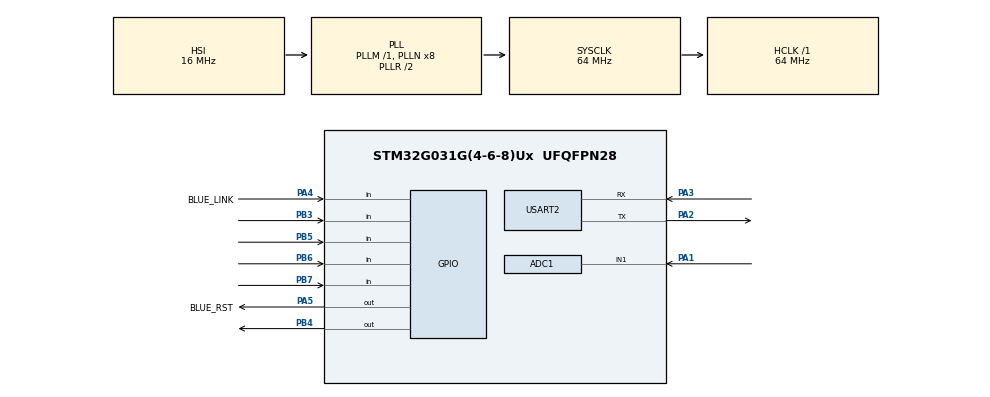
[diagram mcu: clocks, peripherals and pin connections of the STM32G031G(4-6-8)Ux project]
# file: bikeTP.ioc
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ADC1.Channel-0\#ChannelRegularConversion=ADC_CHANNEL_1
ADC1.NbrOfConversionFlag=1
ADC1.Rank-0\#ChannelRegularConversion=1
ADC1.SamplingTime-0\#ChannelRegularConversion=ADC_SAMPLINGTIME_COMMON_1
ADC1.SelectedChannel=ADC_CHANNEL_1
ADC1.master=1
Mcu.Family=STM32G0
Mcu.Name=STM32G031G(4-6-8)Ux
Mcu.Package=UFQFPN28
NVIC.USART2_IRQn=true\:0\:0\:false\:false\:true\:true\:true\:true
PA1.Mode=IN1
PA1.Signal=ADC1_IN1
PA13.Mode=Serial_Wire
PA13.Signal=SYS_SWDIO
PA14-BOOT0.Mode=Serial_Wire
PA14-BOOT0.Signal=SYS_SWCLK
PA2.Mode=Asynchronous
PA2.Signal=USART2_TX
PA3.Mode=Asynchronous
PA3.Signal=USART2_RX
PA4.GPIO_Label=BLUE_LINK
PA4.Signal=GPIO_Input
PA5.GPIO_Label=BLUE_RST
PA5.Signal=GPIO_Output
PB3.Signal=GPIO_Input
PB4.Signal=GPIO_Output
PB5.GPIO_PuPd=GPIO_PULLUP
PB5.Signal=GPIO_Input
PB6.GPIO_PuPd=GPIO_PULLUP
PB6.Signal=GPIO_Input
PB7.GPIO_PuPd=GPIO_PULLUP
PB7.Signal=GPIO_Input
ProjectManager.HeapSize=0x200
ProjectManager.StackSize=0x400
ProjectManager.TargetToolchain=MDK-ARM V5.32
RCC.ADCFreq_Value=64000000
RCC.AHBFreq_Value=64000000
RCC.CortexFreq_Value=64000000
RCC.EXTERNAL_CLOCK_VALUE=12288000
RCC.HCLKFreq_Value=64000000
RCC.HSE_VALUE=8000000
RCC.HSI_VALUE=16000000
RCC.LSE_VALUE=32768
RCC.SYSCLKFreq_VALUE=64000000
RCC.SYSCLKSource=RCC_SYSCLKSOURCE_PLLCLK
RCC.VCOOutputFreq_Value=128000000
TIM14.Period=9999
TIM14.Prescaler=639
TIM16.Period=999
TIM16.Prescaler=639
USART2.VirtualMode-Asynchronous=VM_ASYNC
VP_TIM14_VS_ClockSourceINT.Mode=Enable_Timer
VP_TIM16_VS_ClockSourceINT.Mode=Enable_Timer
board=custom

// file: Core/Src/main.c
/* USER CODE BEGIN Header */
/**
  ******************************************************************************
  * @file           : main.c
  * @brief          : Main program body
  ******************************************************************************
  * @attention
  *
  * Copyright (c) 2025 STMicroelectronics.
  * All rights reserved.
  *
  * This software is licensed under terms that can be found in the LICENSE file
  * in the root directory of this software component.
  * If no LICENSE file comes with this software, it is provided AS-IS.
  *
  ******************************************************************************
  */
/* USER CODE END Header */
#include "main.h"
#include "adc.h"
#include "tim.h"
#include "usart.h"
#include "gpio.h"

/* USER CODE BEGIN Includes */
#include "string.h"
#include "stdio.h"
#include "math.h"
/* USER CODE END Includes */

/* USER CODE BEGIN PTD */
char data[30];
uint8_t reFlag;
uint16_t zdTime = 0;
uint8_t IDLE_Rx[15];
uint8_t BLUE_Flag;
uint8_t vort;
/* USER CODE END PTD */

void SystemClock_Config(void);

int main(void)
{

  /* MCU Configuration--------------------------------------------------------*/

  /* Reset of all peripherals, Initializes the Flash interface and the Systick. */
  HAL_Init();

  /* Configure the system clock */
  SystemClock_Config();

  /* Initialize all configured peripherals */
  MX_GPIO_Init();
  MX_ADC1_Init();
  MX_USART2_UART_Init();
  MX_TIM14_Init();
  MX_TIM16_Init();
  /* USER CODE BEGIN 2 */

	HAL_GPIO_WritePin(BLUE_RST_GPIO_Port,BLUE_RST_Pin,GPIO_PIN_SET);
	HAL_Delay(100);
	HAL_GPIO_WritePin(BLUE_RST_GPIO_Port,BLUE_RST_Pin,GPIO_PIN_RESET);
	HAL_UARTEx_ReceiveToIdle_IT(&huart2,IDLE_Rx,10);
  /* USER CODE END 2 */

  /* Infinite loop */
  /* USER CODE BEGIN WHILE */
  while (1)
  {
		if(HAL_GPIO_ReadPin(GPIOB,GPIO_PIN_5) == 0){
			HAL_Delay(10);
			while(HAL_GPIO_ReadPin(GPIOB,GPIO_PIN_5) == 0);
			HAL_Delay(10);
			zdTime = 301;
			HAL_UART_Transmit(&huart2,(uint8_t*)"LsP:1",8,1000);
		}else if(HAL_GPIO_ReadPin(GPIOB,GPIO_PIN_6) == 0){
			HAL_Delay(10);
			while(HAL_GPIO_ReadPin(GPIOB,GPIO_PIN_6) == 0);
			HAL_Delay(10);
			zdTime = 101;
			HAL_UART_Transmit(&huart2,(uint8_t*)"LsP:2",8,1000);
		}else if(HAL_GPIO_ReadPin(GPIOB,GPIO_PIN_7) == 0){
			HAL_Delay(10);
			while(HAL_GPIO_ReadPin(GPIOB,GPIO_PIN_7) == 0){
				vort++;
				HAL_Delay(10);
			}
			if(vort > 100)HAL_UART_Transmit(&huart2,(uint8_t*)"LsT:1",8,1000);
			else HAL_UART_Transmit(&huart2,(uint8_t*)"LsV:1",8,1000);
			vort = 0;
			zdTime = 301;
		}else if(HAL_GPIO_ReadPin(GPIOB,GPIO_PIN_3) == 0){
			HAL_Delay(100);
			HAL_UART_Transmit(&huart2,(uint8_t*)"LsS:1",8,1000);
			HAL_Delay(500);
		}

		if(zdTime)
		{
			zdTime--;
			HAL_Delay(5);
			if(zdTime == 300)HAL_GPIO_WritePin(GPIOB,GPIO_PIN_4,GPIO_PIN_SET);
			else if(zdTime == 200)HAL_GPIO_WritePin(GPIOB,GPIO_PIN_4,GPIO_PIN_RESET);
			else if(zdTime == 100)HAL_GPIO_WritePin(GPIOB,GPIO_PIN_4,GPIO_PIN_SET);
			else if(zdTime == 0)HAL_GPIO_WritePin(GPIOB,GPIO_PIN_4,GPIO_PIN_RESET);
		}
		if(BLUE_Flag)
		{
			BLUE_Flag = 0;
			if(strcmp((char*)IDLE_Rx, (char*)"rightee") == 0){
				zdTime = 301;
			}else if(strcmp((char*)IDLE_Rx, (char*)"leftee") == 0){
				zdTime = 101;
			}
			memset(IDLE_Rx,0,15);
		}
    /* USER CODE END WHILE */

  }
}

void SystemClock_Config(void)
{
  RCC_OscInitTypeDef RCC_OscInitStruct = {0};
  RCC_ClkInitTypeDef RCC_ClkInitStruct = {0};

  /** Configure the main internal regulator output voltage
  */
  HAL_PWREx_ControlVoltageScaling(PWR_REGULATOR_VOLTAGE_SCALE1);

  /** Initializes the RCC Oscillators according to the specified parameters
  * in the RCC_OscInitTypeDef structure.
  */
  RCC_OscInitStruct.OscillatorType = RCC_OSCILLATORTYPE_HSI;
  RCC_OscInitStruct.HSIState = RCC_HSI_ON;
  RCC_OscInitStruct.HSIDiv = RCC_HSI_DIV1;
  RCC_OscInitStruct.HSICalibrationValue = RCC_HSICALIBRATION_DEFAULT;
  RCC_OscInitStruct.PLL.PLLState = RCC_PLL_ON;
  RCC_OscInitStruct.PLL.PLLSource = RCC_PLLSOURCE_HSI;
  RCC_OscInitStruct.PLL.PLLM = RCC_PLLM_DIV1;
  RCC_OscInitStruct.PLL.PLLN = 8;
  RCC_OscInitStruct.PLL.PLLP = RCC_PLLP_DIV2;
  RCC_OscInitStruct.PLL.PLLQ = RCC_PLLQ_DIV2;
  RCC_OscInitStruct.PLL.PLLR = RCC_PLLR_DIV2;
  if (HAL_RCC_OscConfig(&RCC_OscInitStruct) != HAL_OK)
  {
    Error_Handler();
  }

  /** Initializes the CPU, AHB and APB buses clocks
  */
  RCC_ClkInitStruct.ClockType = RCC_CLOCKTYPE_HCLK|RCC_CLOCKTYPE_SYSCLK
                              |RCC_CLOCKTYPE_PCLK1;
  RCC_ClkInitStruct.SYSCLKSource = RCC_SYSCLKSOURCE_PLLCLK;
  RCC_ClkInitStruct.AHBCLKDivider = RCC_SYSCLK_DIV1;
  RCC_ClkInitStruct.APB1CLKDivider = RCC_HCLK_DIV1;

  if (HAL_RCC_ClockConfig(&RCC_ClkInitStruct, FLASH_LATENCY_2) != HAL_OK)
  {
    Error_Handler();
  }
}

/* USER CODE BEGIN 4 */
void HAL_UARTEx_RxEventCallback(UART_HandleTypeDef *huart, uint16_t Size)
{
	if(huart->Instance == USART2)
	{
		BLUE_Flag = 1;
		HAL_UARTEx_ReceiveToIdle_IT(&huart2,IDLE_Rx,10);
	}
}
/* USER CODE END 4 */

void Error_Handler(void)
{
  __disable_irq();
  while (1)
  {
  }
}
